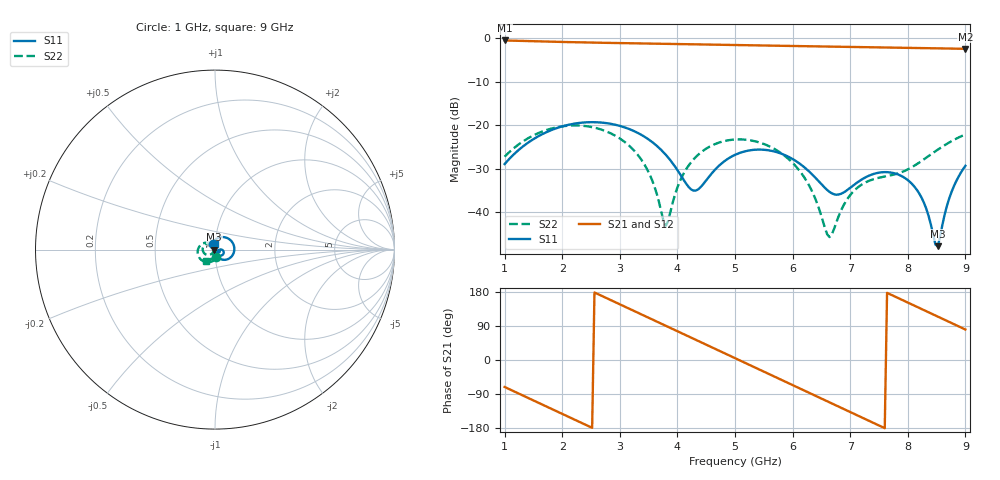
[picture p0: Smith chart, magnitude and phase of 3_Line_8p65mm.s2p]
! Touchstone 1.1 File - TRL Line Standard (delta_l = 8.6543 mm, 50 Ohm)
! TRL Synthetic Dataset | eps_eff = 3.0 | f_c = 5.0 GHz | delta_l = 8.6543 mm
! Reference Impedance: 50 Ohms | Frequency: 1.0 to 9.0 GHz (201 points)
# GHz S RI R 50
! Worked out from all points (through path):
!   201 points, 1 GHz to 9 GHz, reference 50 ohm
!   highest |S21| = -0.56 dB at 1 GHz (marker M1); lowest = -2.5 dB at 9 GHz (marker M2)
!   group delay of S21, straight-line fit = 197 ps
!   lowest |S11| = -47.8 dB at 8.52 GHz (marker M3), VSWR 1.01, Z = 49.6 - j0.0438 ohm
!   |S11| at or under -10 dB: start of sweep to end of sweep
!   |S22| runs from -45.7 to -20.1 dB; largest |S21 - S12| = 0
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1  -0.0109 0.0339  0.3025 -0.8878  0.3025 -0.8878  0.00793 -0.0426
1.6  0.0304 0.0689  -0.3699 -0.8372  -0.3699 -0.8372  -0.0401 -0.0711
2  0.0751 0.0608  -0.7122 -0.5527  -0.7122 -0.5527  -0.0805 -0.0536
2.36  0.1032 0.0278  -0.8701 -0.1905  -0.8701 -0.1905  -0.0968 -0.0164
2.76  0.1036 -0.0198  -0.8467 0.2418  -0.8467 0.2418  -0.0814 0.0243
3.2  0.0695 -0.054  -0.5927 0.6384  -0.5927 0.6384  -0.0396 0.038
3.48  0.0418 -0.056  -0.3377 0.7968  -0.3377 0.7968  -0.0167 0.0256
3.68  0.0255 -0.0486  -0.1308 0.8512  -0.1308 0.8512  -0.00814 0.0102
3.8  0.0184 -0.0416  -0.00277 0.8586  -0.00277 0.8586  -0.00697 0.000145
4.04  0.0117 -0.0251  0.2482 0.8163  0.2482 0.8163  -0.0132 -0.0181
4.28  0.0145 -0.01  0.474 0.7025  0.474 0.7025  -0.0281 -0.0289
5  0.0451 -0.0057  0.8274 0.0697  0.8274 0.0697  -0.0683 -0.00238
5.4  0.0469 -0.0231  0.7531 -0.3284  0.7531 -0.3284  -0.0582 0.0263
5.8  0.0328 -0.0338  0.5015 -0.6408  0.5015 -0.6408  -0.0297 0.0373
6.36  0.0124 -0.0232  -0.0247 -0.8027  -0.0247 -0.8027  0.00227 0.016
6.64  0.0114 -0.0128  -0.2947 -0.7413  -0.2947 -0.7413  0.00515 -0.000433
7.04  0.0194 -0.00455  -0.6063 -0.5063  -0.6063 -0.5063  -0.002 -0.0167
7.68  0.0249 -0.0142  -0.7737 0.0765  -0.7737 0.0765  -0.0115 -0.0236
8.16  0.00846 -0.0158  -0.5904 0.4919  -0.5904 0.4919  -0.0109 -0.034
8.52  -0.00404 -0.000441  -0.3167 0.6924  -0.3167 0.6924  -0.0181 -0.0489
8.72  -0.00554 0.0133  -0.136 0.745  -0.136 0.745  -0.0279 -0.0567
9  0.00244 0.034  0.1249 0.741  0.1249 0.741  -0.0479 -0.0617
